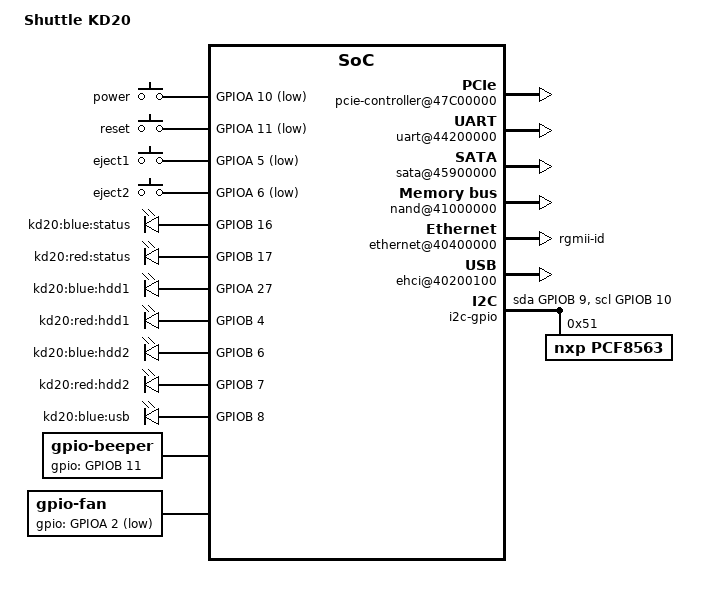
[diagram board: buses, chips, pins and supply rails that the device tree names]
/*
 * Copyright (C) 2014 Daniel Golle <daniel@makrotopia.org>
 *
 * This program is free software; you can redistribute it and/or modify
 * it under the terms of the GNU General Public License version 2 as
 * published by the Free Software Foundation.
 */

/dts-v1/;
#include "ox820.dtsi"

/ {
	model = "Shuttle KD20";

	chosen {
		bootargs = "console=ttyS0,115200n8 earlyprintk=serial";
	};

	pcie-controller@47C00000 {
		status = "okay";
	};

	uart@44200000 {
		status = "okay";
	};

	sata@45900000 {
		status = "okay";
		nr-ports = <2>;
	};

	nand@41000000 {
		status = "okay";

		partition@0 {
			label = "boot";
			reg = <0x00000000 0x00e00000>;
			/*read-only;*/
		};

		partition@e00000 {
			label = "ubi";
			reg = <0x00e00000 0x07200000>;
		};
	};

	ethernet@40400000 {
		status = "okay";
		snps,phy-addr = <1>;
		phy-mode = "rgmii-id";
	};

	ehci@40200100 {
		status = "okay";
	};

	i2c-gpio {
		compatible = "i2c-gpio";
		gpios = <&GPIOB 9 0 &GPIOB 10 0>;
		i2c-gpio,delay-us = <10>;
		#address-cells = <1>;
		#size-cells = <0>;
		pcf8563: rtc@51 {
			compatible = "nxp,pcf8563";
			reg = <0x51>;
		};
	};

	gpio-keys-polled {
		compatible = "gpio-keys-polled";
		#address-cells = <1>;
		#size-cells = <0>;
		poll-interval = <100>;

		power {
			label = "power";
			gpios = <&GPIOA 10 1>;
			linux,code = <116>;
		};
		reset {
			label = "reset";
			gpios = <&GPIOA 11 1>;
			linux,code = <0x198>;
		};
		eject1 {
			label = "eject1";
			gpios = <&GPIOA 5 1>;
			linux,code = <161>;
		};
		eject2 {
			label = "eject2";
			gpios = <&GPIOA 6 1>;
			linux,code = <162>;
		};
	};

	gpio-leds {
		compatible = "gpio-leds";
		status {
			label = "kd20:blue:status";
			gpios = <&GPIOB 16 0>;
		};
		status2 {
			label = "kd20:red:status";
			gpios = <&GPIOB 17 0>;
		};
		hdd1blue {
			label = "kd20:blue:hdd1";
			gpios = <&GPIOA 27 0>;
		};
		hdd1red {
			label = "kd20:red:hdd1";
			gpios = <&GPIOB 4 0>;
		};
		hdd2blue {
			label = "kd20:blue:hdd2";
			gpios = <&GPIOB 6 0>;
		};
		hdd2red {
			label = "kd20:red:hdd2";
			gpios = <&GPIOB 7 0>;
		};
		usb {
			label = "kd20:blue:usb";
			gpios = <&GPIOB 8 0>;
		};
	};

	beeper: beeper {
		compatible = "gpio-beeper";
		gpios = <&GPIOB 11 0>;
	};

	gpio-fan {
		compatible = "gpio-fan";
		gpios = <&GPIOA 2 1>;
	};
};
